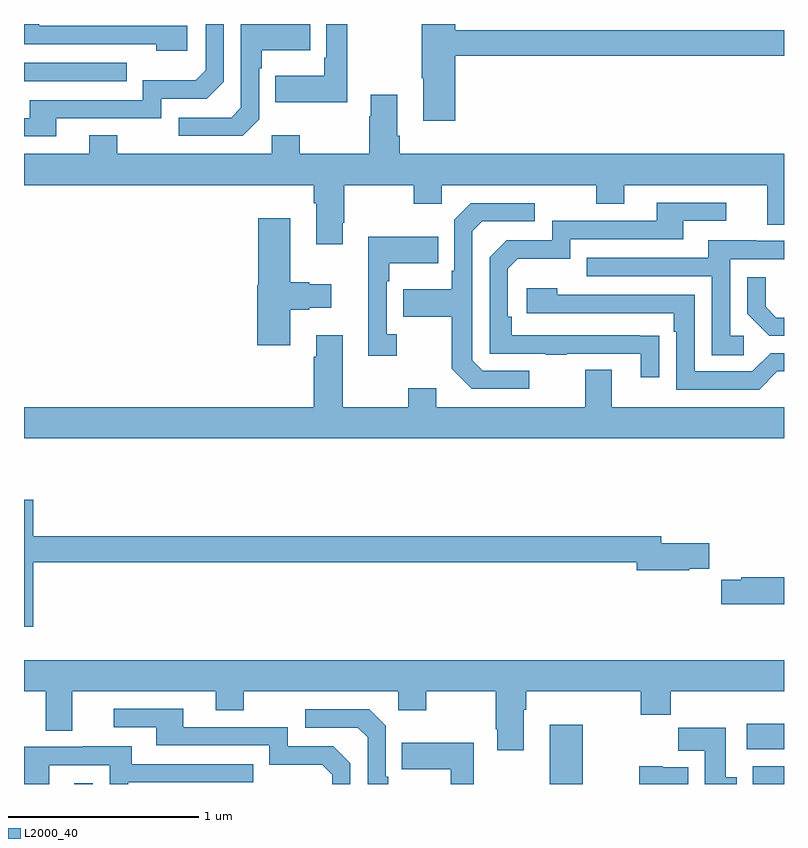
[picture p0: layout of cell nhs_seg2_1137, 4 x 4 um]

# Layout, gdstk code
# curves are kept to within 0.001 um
import gdstk
lib = gdstk.Library(unit=1e-6, precision=1e-09)
def R(c, l, rs):  # rectangles x0, y0, x1, y1
    for r in rs: c.add(gdstk.rectangle(r[:2], r[2:], *l))
def P(c, l, *ps):  # polygons
    for p in ps: c.add(gdstk.Polygon(p, *l))
L2000_40 = (2000, 40)

nhs_seg2_1137 = lib.new_cell('nhs_seg2_1137')
R(nhs_seg2_1137, L2000_40, [(169.265,661.8,169.362,661.804), (171.767,661.8,171.94,662.113), (172.835,661.8,173,661.894), (172.803,661.982,173,662.116), (169,665.499,169.541,665.595)])
P(nhs_seg2_1137, L2000_40, [(170.238,665.298),(170.238,665.567),(170.251,665.567),(170.251,665.663),(170.507,665.663),(170.507,665.8),(170.142,665.8),(170.142,665.358),(170.091,665.307),(169.815,665.307),(169.815,665.211),(170.151,665.211)],
  [(169.171,665.304),(169.722,665.304),(169.722,665.406),(169.962,665.406),(170.052,665.496),(170.052,665.8),(169.956,665.8),(169.956,665.556),(169.903,665.503),(169.626,665.503),(169.626,665.4),(169.031,665.4),(169.031,665.304),(169,665.304),(169,665.208),(169.171,665.208)],
  [(170.701,665.8),(170.592,665.8),(170.592,665.623),(170.58,665.623),(170.58,665.527),(170.323,665.527),(170.323,665.387),(170.701,665.387)],
  [(169.858,665.79),(169.081,665.79),(169.081,665.8),(169,665.8),(169,665.694),(169.697,665.694),(169.697,665.66),(169.858,665.66)],
  [(171.269,665.632),(173,665.632),(173,665.768),(171.269,665.768),(171.269,665.8),(171.094,665.8),(171.094,665.515),(171.101,665.515),(171.101,665.292),(171.269,665.292)],
  [(170.825,665.428),(170.825,665.315),(170.818,665.315),(170.818,665.116),(170.451,665.116),(170.451,665.215),(170.304,665.215),(170.304,665.116),(169.491,665.116),(169.491,665.215),(169.343,665.215),(169.343,665.116),(169,665.116),(169,664.952),(170.525,664.952),(170.525,664.856),(170.537,664.856),(170.537,664.641),(170.677,664.641),(170.677,664.753),(170.685,664.753),(170.685,664.952),(171.052,664.952),(171.052,664.853),(171.198,664.853),(171.198,664.952),(172.012,664.952),(172.012,664.853),(172.159,664.853),(172.159,664.952),(172.913,664.952),(172.913,664.744),(173,664.744),(173,665.116),(170.978,665.116),(170.978,665.212),(170.965,665.212),(170.965,665.428)],
  [(172.343,664.16),(171.566,664.161),(171.566,664.258),(171.546,664.258),(171.546,664.512),(171.599,664.565),(171.876,664.565),(171.876,664.668),(172.471,664.668),(172.471,664.764),(172.696,664.764),(172.696,664.86),(172.331,664.86),(172.331,664.764),(171.78,664.764),(171.78,664.662),(171.54,664.662),(171.45,664.572),(171.45,664.065),(171.745,664.065),(171.745,664.06),(171.857,664.06),(171.857,664.065),(172.247,664.065),(172.247,663.942),(172.343,663.942)],
  [(171.658,663.975),(171.414,663.975),(171.36,664.029),(171.36,664.71),(171.411,664.761),(171.688,664.761),(171.688,664.857),(171.351,664.857),(171.264,664.77),(171.264,664.501),(171.252,664.501),(171.252,664.405),(170.995,664.405),(170.995,664.258),(171.252,664.258),(171.252,663.985),(171.357,663.879),(171.658,663.879)],
  [(170.401,664.295),(170.501,664.295),(170.501,664.307),(170.617,664.307),(170.617,664.429),(170.501,664.429),(170.501,664.442),(170.401,664.442),(170.401,664.777),(170.234,664.777),(170.234,664.425),(170.228,664.425),(170.228,664.11),(170.401,664.11)],
  [(170.962,664.166),(170.91,664.166),(170.91,664.445),(170.923,664.445),(170.923,664.541),(171.179,664.541),(171.179,664.681),(170.813,664.681),(170.813,664.053),(170.962,664.053)],
  [(172.789,664.158),(172.716,664.158),(172.716,664.563),(173,664.563),(173,664.659),(172.855,664.659),(172.855,664.663),(172.601,664.663),(172.601,664.569),(171.961,664.569),(171.961,664.473),(172.62,664.473),(172.62,664.057),(172.789,664.057)],
  [(173,664.254),(172.96,664.254),(172.903,664.311),(172.903,664.468),(172.806,664.468),(172.806,664.274),(172.922,664.158),(173,664.158)],
  [(172.965,663.972),(173,663.972),(173,664.068),(172.929,664.068),(172.833,663.972),(172.53,663.972),(172.53,664.374),(171.806,664.374),(171.806,664.408),(171.645,664.408),(171.645,664.278),(172.421,664.278),(172.421,664.181),(172.434,664.181),(172.434,663.876),(172.869,663.876)],
  [(173,663.784),(172.093,663.784),(172.093,663.979),(171.953,663.979),(171.953,663.784),(171.169,663.784),(171.169,663.883),(171.022,663.883),(171.022,663.784),(170.677,663.784),(170.677,664.162),(170.537,664.162),(170.537,664.049),(170.525,664.049),(170.525,663.784),(169,663.784),(169,663.62),(173,663.62)],
  [(169.049,662.968),(172.226,662.968),(172.226,662.926),(172.502,662.926),(172.502,662.934),(172.607,662.934),(172.607,663.068),(172.354,663.068),(172.354,663.104),(169.049,663.104),(169.049,663.295),(169,663.295),(169,662.628),(169.049,662.628)],
  [(173,662.888),(172.774,662.888),(172.774,662.876),(172.669,662.876),(172.669,662.746),(173,662.746)],
  [(171.631,662.192),(171.644,662.192),(171.644,662.288),(172.247,662.288),(172.247,662.164),(172.403,662.164),(172.403,662.288),(173,662.288),(173,662.452),(169,662.452),(169,662.288),(169.115,662.288),(169.115,662.08),(169.255,662.08),(169.255,662.288),(170.009,662.288),(170.009,662.189),(170.157,662.189),(170.157,662.288),(170.97,662.288),(170.97,662.189),(171.117,662.189),(171.117,662.288),(171.484,662.288),(171.484,662.089),(171.491,662.089),(171.491,661.977),(171.631,661.977)],
  [(170.718,661.908),(170.628,661.998),(170.388,661.998),(170.388,662.1),(169.837,662.1),(169.837,662.196),(169.473,662.196),(169.473,662.1),(169.697,662.1),(169.697,662.004),(170.292,662.004),(170.292,661.901),(170.569,661.901),(170.622,661.848),(170.622,661.8),(170.718,661.8)],
  [(170.917,661.837),(170.904,661.837),(170.904,662.106),(170.817,662.193),(170.481,662.193),(170.481,662.097),(170.757,662.097),(170.808,662.046),(170.808,661.8),(170.917,661.8)],
  [(172.75,661.836),(172.693,661.836),(172.693,662.095),(172.444,662.095),(172.444,661.976),(172.583,661.976),(172.583,661.8),(172.75,661.8)],
  [(171.367,662.017),(170.989,662.017),(170.989,661.877),(171.246,661.877),(171.246,661.8),(171.367,661.8)],
  [(169.134,661.899),(169.452,661.899),(169.452,661.8),(169.548,661.8),(169.548,661.809),(170.207,661.809),(170.207,661.905),(169.567,661.905),(169.567,661.999),(169.313,661.999),(169.313,661.995),(169,661.995),(169,661.8),(169.134,661.8)],
  [(172.495,661.888),(172.362,661.888),(172.362,661.894),(172.237,661.894),(172.237,661.8),(172.495,661.8)])

lib.write_gds('nhs_seg2_1137.gds')
